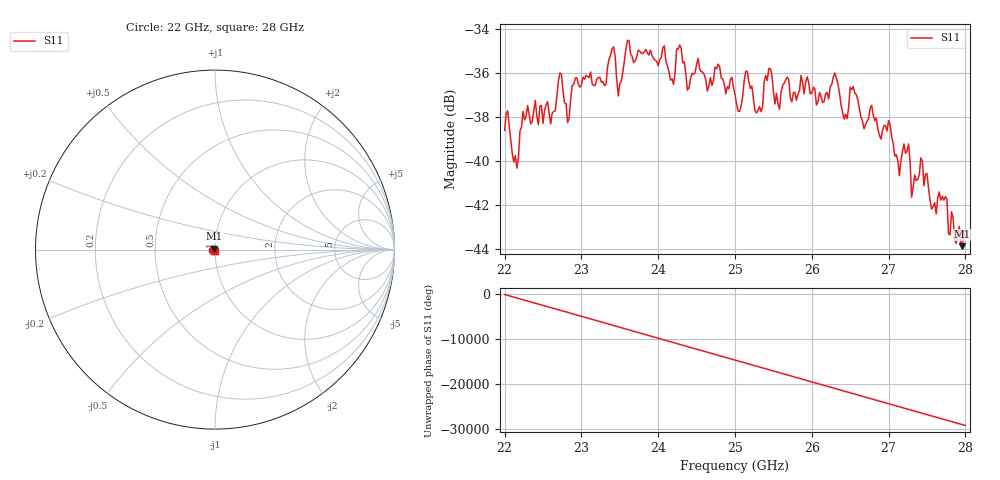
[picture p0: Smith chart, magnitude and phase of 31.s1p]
#  HZ  S  RI  R  50.00
! Rohde & Schwarz ZVA40 4Ports - Version 3.90 - 1145.1110k42 SN: 100403
! Date: 2023-10-04 06:09:07
! Measurement: S12
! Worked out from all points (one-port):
!   301 points, 22 GHz to 28 GHz, reference 50 ohm
!   lowest |S11| = -43.9 dB at 27.96 GHz (marker M1), VSWR 1.01, Z = 49.7 + j0.562 ohm
!   |S11| at or under -10 dB: start of sweep to end of sweep
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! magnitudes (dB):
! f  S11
! 22 GHz  -38.6
! 22.16 GHz  -40.3
! 22.24 GHz  -37.7
! 22.76 GHz  -36.8
! 22.82 GHz  -38.2
! 22.92 GHz  -36.2
! 23.32 GHz  -36.5
! 23.42 GHz  -34.8
! 23.5 GHz  -36.5
! 23.6 GHz  -34.5
! 24.08 GHz  -34.7
! 24.2 GHz  -36.5
! 24.26 GHz  -34.9
! 24.38 GHz  -36.8
! 24.52 GHz  -35.3
! 25 GHz  -37.0
! 25.76 GHz  -36.9
! 26.3 GHz  -36.0
! 26.42 GHz  -38.1
! 26.5 GHz  -36.6
! 26.68 GHz  -38.5
! 27 GHz  -38.2
! 27.14 GHz  -40.7
! 27.26 GHz  -39.2
! 27.3 GHz  -41.6
! 27.42 GHz  -39.8
! 27.96 GHz  -43.9
! 28 GHz  -43.4
